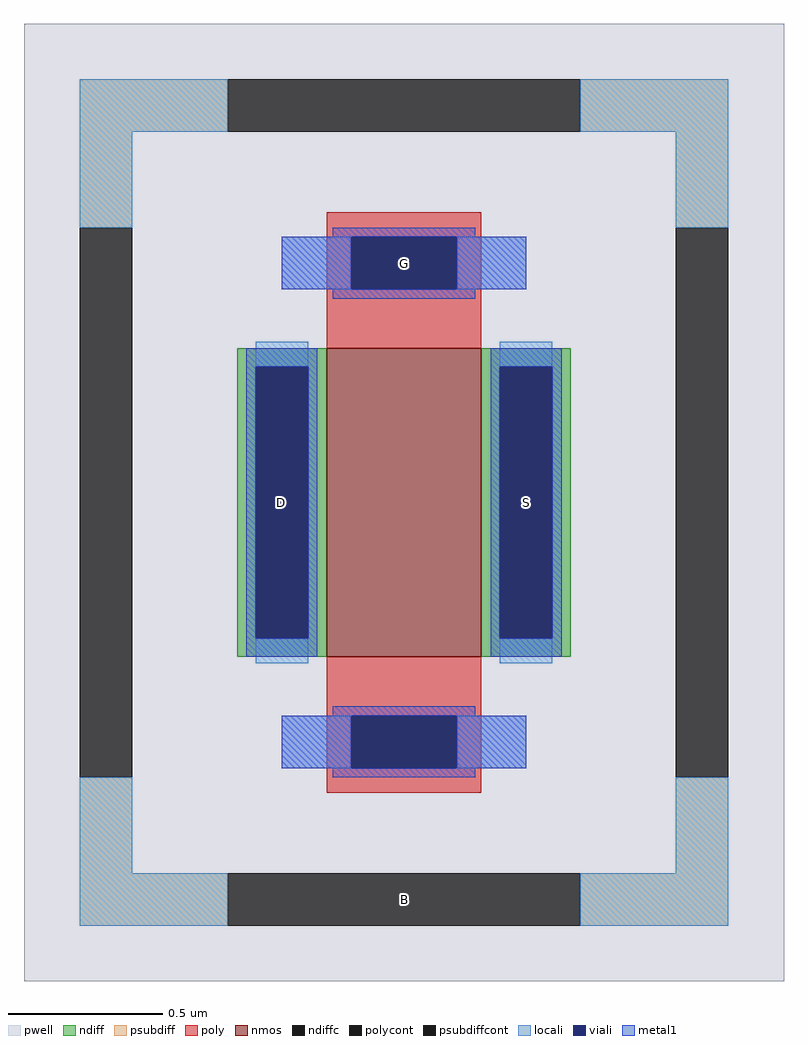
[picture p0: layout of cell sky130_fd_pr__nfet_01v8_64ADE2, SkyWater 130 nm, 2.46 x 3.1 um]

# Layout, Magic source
magic
tech sky130A
magscale 1 2
<< pwell >>
rect -246 -310 246 310
<< nmos >>
rect -50 -100 50 100
<< ndiff >>
rect -108 88 -50 100
rect -108 -88 -96 88
rect -62 -88 -50 88
rect -108 -100 -50 -88
rect 50 88 108 100
rect 50 -88 62 88
rect 96 -88 108 88
rect 50 -100 108 -88
<< ndiffc >>
rect -96 -88 -62 88
rect 62 -88 96 88
<< psubdiff >>
rect -210 240 -114 274
rect 114 240 210 274
rect -210 178 -176 240
rect 176 178 210 240
rect -210 -240 -176 -178
rect 176 -240 210 -178
rect -210 -274 -114 -240
rect 114 -274 210 -240
<< psubdiffcont >>
rect -114 240 114 274
rect -210 -178 -176 178
rect 176 -178 210 178
rect -114 -274 114 -240
<< poly >>
rect -50 172 50 188
rect -50 138 -34 172
rect 34 138 50 172
rect -50 100 50 138
rect -50 -138 50 -100
rect -50 -172 -34 -138
rect 34 -172 50 -138
rect -50 -188 50 -172
<< polycont >>
rect -34 138 34 172
rect -34 -172 34 -138
<< locali >>
rect -210 240 -114 274
rect 114 240 210 274
rect -210 178 -176 240
rect 176 178 210 240
rect -79 138 -34 172
rect 34 138 79 172
rect -96 88 -62 104
rect -96 -104 -62 -88
rect 62 88 96 104
rect 62 -104 96 -88
rect -79 -172 -34 -138
rect 34 -172 79 -138
rect -210 -240 -176 -178
rect 176 -240 210 -178
rect -210 -274 -114 -240
rect 114 -274 210 -240
<< viali >>
rect -34 138 34 172
rect -96 -88 -62 88
rect 62 -88 96 88
rect -34 -172 34 -138
<< metal1 >>
rect -46 172 46 178
rect -79 138 -34 172
rect 34 138 79 172
rect -46 132 46 138
rect -102 88 -56 100
rect -102 -88 -96 88
rect -62 -88 -56 88
rect -102 -100 -56 -88
rect 56 88 102 100
rect 56 -88 62 88
rect 96 -88 102 88
rect 56 -100 102 -88
rect -46 -138 46 -132
rect -79 -172 -34 -138
rect 34 -172 79 -138
rect -46 -178 46 -172
<< labels >>
rlabel psubdiffcont 0 -257 0 -257 0 B
port 1 nsew
rlabel ndiffc -79 0 -79 0 0 D
port 2 nsew
rlabel ndiffc 79 0 79 0 0 S
port 3 nsew
rlabel polycont 0 155 0 155 0 G
port 4 nsew
<< properties >>
string FIXED_BBOX -193 -257 193 257
string gencell sky130_fd_pr__nfet_01v8
string library sky130
string parameters w 1 l 0.5 m 1 nf 1 diffcov 100 polycov 100 guard 1 glc 1 grc 1 gtc 1 gbc 1 tbcov 100 rlcov 100 topc 1 botc 1 poverlap 0 doverlap 1 lmin 0.15 wmin 0.42 class mosfet compatible {sky130_fd_pr__nfet_01v8 sky130_fd_pr__nfet_01v8_lvt  sky130_fd_bs_flash__special_sonosfet_star  sky130_fd_pr__nfet_g5v0d10v5 sky130_fd_pr__nfet_05v0_nvt  sky130_fd_pr__nfet_03v3_nvt} full_metal 1 conn_gates 1 viasrc 100 viadrn 100 viagate 100 viagb 0 viagr 0 viagl 0 viagt 0 doports 1
<< end >>
